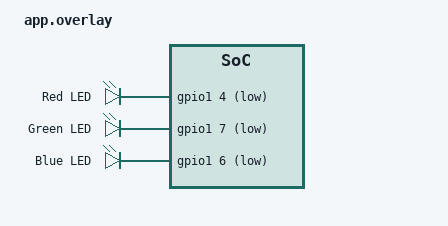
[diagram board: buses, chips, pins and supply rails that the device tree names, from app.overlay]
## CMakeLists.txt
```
cmake_minimum_required(VERSION 3.20.0)

# list(APPEND BOARD_ROOT ${CMAKE_CURRENT_SOURCE_DIR}/../)
find_package(Zephyr REQUIRED HINTS $ENV{ZEPHYR_BASE})
project(app_l6_task)

target_sources(app PRIVATE src/main.cpp)
add_subdirectory(../drivers/our_driver ${CMAKE_CURRENT_BINARY_DIR}/our_driver)
 
```

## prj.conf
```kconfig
#GPIO and Logging
CONFIG_GPIO=y
CONFIG_LOG=y
CONFIG_LOG_DEFAULT_LEVEL=4
CONFIG_LOG_MODE_IMMEDIATE=y
 
#Console
CONFIG_CONSOLE=y
CONFIG_UART_CONSOLE=y
CONFIG_LOG_BACKEND_UART=y

# Homework requirement: Heartbeat period
CONFIG_APP_HEARTBEAT_PERIOD_MS=500

#LED Features
CONFIG_LED_SUBSYSTEM=y

# Optional: Enable RGB LED (set to 'n' for homework submission)
CONFIG_RGB_LED_ENABLE=y

# Advance LED settings(optional)
CONFIG_LED_ADVANCED=y
CONFIG_LED_ENABLE_DEBUGGING=y

CONFIG_OUR_DRIVER=y
```

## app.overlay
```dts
/ {
    our_driver0: our_driver {
        compatible = "our_driver";
        status = "okay";
    };

    aliases {
        app-led = &red_led;
        led-red = &red_led;
        led-green = &green_led;
        led-blue = &blue_led;
    };

    leds {
        compatible = "gpio-leds";
        red_led: led_0 {
            gpios = <&gpio1 4 GPIO_ACTIVE_LOW>;
            label = "Red LED";
        };
        green_led: led_1 {
            gpios = <&gpio1 7 GPIO_ACTIVE_LOW>;
            label = "Green LED";
        };
        blue_led: led_2 {
            gpios = <&gpio1 6 GPIO_ACTIVE_LOW>;
            label = "Blue LED";
        };
    };
};
```

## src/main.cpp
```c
#include <zephyr/kernel.h>
#include <zephyr/drivers/sensor.h>
#include <zephyr/logging/log.h>

LOG_MODULE_REGISTER(main, LOG_LEVEL_INF);

int main(void)
{
    LOG_INF("=== TASK 1: Standard Sensor API Test ===\n");
    
    const struct device* driver = DEVICE_DT_GET(DT_NODELABEL(our_driver0));
    
    if (!device_is_ready(driver)) {
        LOG_ERR("LED sensor driver not ready!");
        return -1;
    }
    
    LOG_INF("LED sensor driver is ready\n");
    
    struct sensor_value val;
    int ret;
    
    /* Test 1: Basic LED control using sample_fetch and channel_get */
    LOG_INF("--- Test 1: Basic LED Control ---");
    for (int i = 0; i < 5; i++) {
        LOG_INF("Blink %d/5", i + 1);
        
        /* Turn LED ON */
        ret = sensor_sample_fetch(driver);
        LOG_INF("  sample_fetch returned: %d", ret);
        k_sleep(K_MSEC(1000));
        
        /* Turn LED OFF */
        ret = sensor_channel_get(driver, SENSOR_CHAN_ALL, &val);
        LOG_INF("  channel_get returned: %d, LED state: %d", ret, val.val1);
        k_sleep(K_MSEC(1000));
    }
    
    LOG_INF("\n=== Task 1 Complete ===\n");
    
    while (1) {
        k_sleep(K_MSEC(5000));
    }
    
    return 0;
}
```
